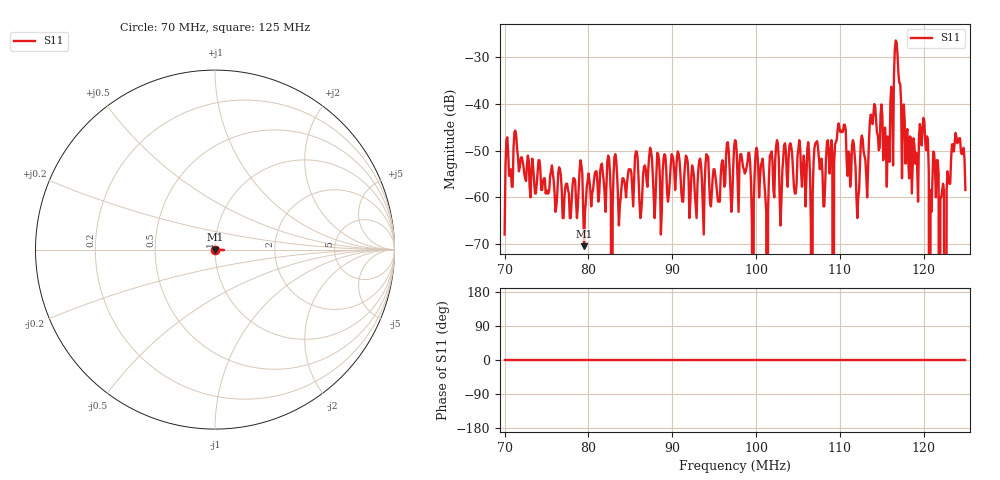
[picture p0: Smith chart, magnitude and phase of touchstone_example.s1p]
# MHz S RI R 50
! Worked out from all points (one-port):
!   517 points, 70 MHz to 125 MHz, reference 50 ohm
!   lowest |S11| = -70.5 dB at 79.49 MHz (marker M1), VSWR 1.00, Z = 50 + j0 ohm
!   |S11| at or under -10 dB: start of sweep to end of sweep
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70  0.0004 0
71.27907  0.0052 0
76.9283  0.0006 0
79.48643  0.0003 0
83.75  0.0008 0
90.6783  0.0031 0
95.47481  0.0009 0
97.5  0.0041 0
99.63178  0 0
100.0581  0.0034 0
101.2306  0.0007 0
101.7636  0.0029 0
104.4283  0.0019 0
106.2403  0.0039 0
106.6667  0 0
107.1996  0.0039 0
111.25  0.0013 0
112.2093  0.001 0
114.0213  0.0078 0
115.7267  0.0045 0
116.7926  0.0457 0
118.1783  0.0025 0
120.2035  0.004 0
120.843  0.0012 0
121.376  0.002 0
122.4419  0.0012 0
123.6143  0.0031 0
125  0.0012 0
